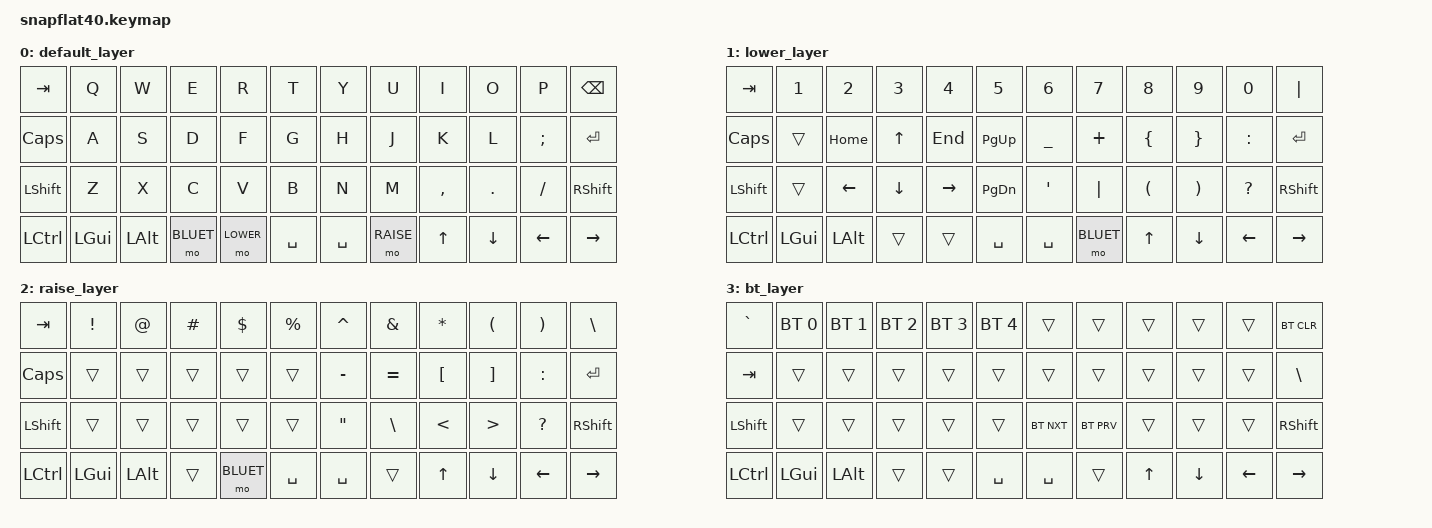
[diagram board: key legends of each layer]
#include <behaviors.dtsi>
#include <dt-bindings/zmk/keys.h>
#include <dt-bindings/zmk/bt.h>
#include <dt-bindings/zmk/outputs.h>

#define DEFAULT 0
#define LOWER 1
#define RAISE 2
#define BLUET 3

/ {
	keymap {
		compatible = "zmk,keymap";

		default_layer {

			bindings = <
	&kp TAB   &kp Q    &kp W    &kp E     &kp R     &kp T     &kp Y     &kp U     &kp I     &kp O    &kp P    &kp BSPC
	&kp CAPS  &kp A    &kp S    &kp D     &kp F     &kp G     &kp H     &kp J     &kp K     &kp L    &kp SEMI &kp RET
	&kp LSHFT &kp Z    &kp X    &kp C     &kp V     &kp B     &kp N     &kp M     &kp COMMA &kp DOT  &kp FSLH &kp RSHFT
	&kp LCTRL &kp LGUI &kp LALT &mo BLUET &mo LOWER &kp SPACE &kp SPACE &mo RAISE &kp UP    &kp DOWN &kp LEFT &kp RIGHT
			>;
		};

		lower_layer {

			bindings = <
	&kp TAB   &kp N1   &kp N2   &kp N3   &kp N4    &kp N5    &kp N6    &kp N7    &kp N8    &kp N9   &kp N0    &kp PIPE
	&kp CAPS  &trans   &kp HOME &kp UP   &kp END   &kp PG_UP &kp UNDER &kp PLUS  &kp LBRC  &kp RBRC &kp COLON &kp RET
	&kp LSHFT &trans   &kp LEFT &kp DOWN &kp RIGHT &kp PG_DN &kp SQT   &kp PIPE  &kp LPAR  &kp RPAR &kp QMARK &kp RSHFT
	&kp LCTRL &kp LGUI &kp LALT &trans   &trans    &kp SPACE &kp SPACE &mo BLUET &kp UP    &kp DOWN &kp LEFT  &kp RIGHT
			>;
		};
		raise_layer {

			bindings = <
	&kp TAB   &kp EXCL &kp AT   &kp HASH &kp DLLR  &kp PRCNT &kp CARET &kp AMPS  &kp STAR &kp LPAR &kp RPAR  &kp BSLH
	&kp CAPS  &trans   &trans   &trans   &trans    &trans    &kp MINUS &kp EQUAL &kp LBKT &kp RBKT &kp COLON &kp RET
	&kp LSHFT &trans   &trans   &trans   &trans    &trans    &kp DQT   &kp BSLH  &kp LT   &kp GT   &kp QMARK &kp RSHFT
	&kp LCTRL &kp LGUI &kp LALT &trans   &mo BLUET &kp SPACE &kp SPACE &trans    &kp UP   &kp DOWN &kp LEFT  &kp RIGHT
			>;
		};
		bt_layer {

			bindings = <
	&kp GRAVE &bt BT_SEL 0 &bt BT_SEL 1 &bt BT_SEL 2 &bt BT_SEL 3 &bt BT_SEL 4 &trans     &trans     &trans &trans   &trans   &bt BT_CLR
	&kp TAB   &trans       &trans       &trans       &trans       &trans       &trans     &trans     &trans &trans   &trans   &kp BSLH
	&kp LSHFT &trans       &trans       &trans       &trans       &trans       &bt BT_NXT &bt BT_PRV &trans &trans   &trans   &kp RSHFT
	&kp LCTRL &kp LGUI     &kp LALT     &trans       &trans       &kp SPACE    &kp SPACE  &trans     &kp UP &kp DOWN &kp LEFT &kp RIGHT
			>;
		};
	};
};
